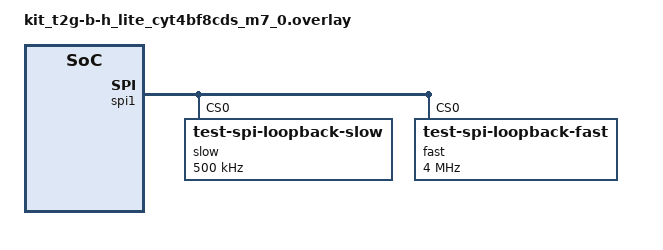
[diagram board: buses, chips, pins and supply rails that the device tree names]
/*
 * Copyright (c) 2026 Infineon Technologies
 *
 * SPDX-License-Identifier: Apache-2.0
 */

/* SPI loopback test configuration for KIT_T2G-B-H_LITE
 *
 * Hardware setup:
 * Connect MISO to MOSI pins for loopback:
 *   P13.0 (MISO) <--> P13.1 (MOSI)
 *
 * Or use internal loopback if supported by enabling CONFIG_SPI_LOOPBACK_MODE_LOOP
 */

&spi1 {
	/* Add test loopback device nodes */
	slow@0 {
		compatible = "test-spi-loopback-slow";
		reg = <0>;
		spi-max-frequency = <500000>;  /* 500 kHz */
	};

	fast@0 {
		compatible = "test-spi-loopback-fast";
		reg = <0>;
		spi-max-frequency = <4000000>;  /* 4 MHz */
	};
};
